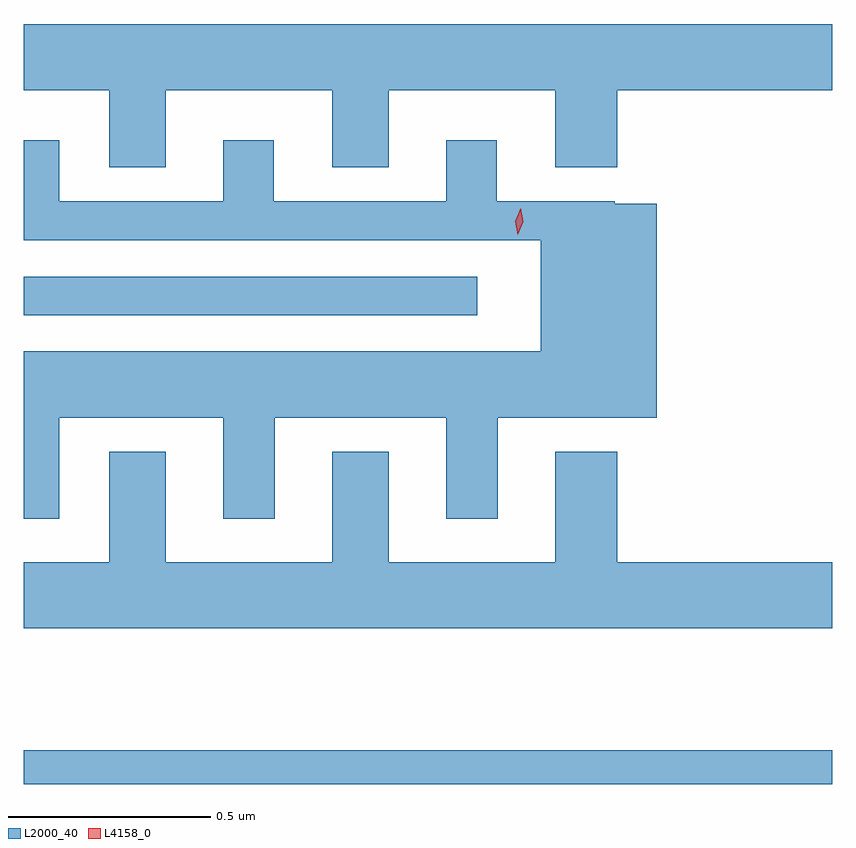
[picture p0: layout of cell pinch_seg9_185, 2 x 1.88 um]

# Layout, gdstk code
import gdstk
lib = gdstk.Library(unit=1e-6, precision=1e-09)
def R(c, l, rs):  # rectangles x0, y0, x1, y1
    for r in rs: c.add(gdstk.rectangle(r[:2], r[2:], *l))
def P(c, l, *ps):  # polygons
    for p in ps: c.add(gdstk.Polygon(p, *l))
L2000_40 = (2000, 40)
L4158_0 = (4158, 0)

pinch_seg9_185 = lib.new_cell('pinch_seg9_185')
R(pinch_seg9_185, L2000_40, [(766.996,1182.715,768.996,1182.799), (766.996,1183.875,768.118,1183.971)])
P(pinch_seg9_185, L2000_40, [(767.347,1184.432),(767.759,1184.432),(767.759,1184.242),(767.899,1184.242),(767.899,1184.432),(768.311,1184.432),(768.311,1184.242),(768.464,1184.242),(768.464,1184.432),(768.996,1184.432),(768.996,1184.596),(766.996,1184.596),(766.996,1184.432),(767.207,1184.432),(767.207,1184.242),(767.347,1184.242)],
  [(767.083,1183.622),(767.489,1183.622),(767.489,1183.371),(767.617,1183.371),(767.617,1183.622),(768.041,1183.622),(768.041,1183.371),(768.169,1183.371),(768.169,1183.622),(768.562,1183.622),(768.562,1184.151),(768.458,1184.151),(768.458,1184.157),(768.166,1184.157),(768.166,1184.308),(768.041,1184.308),(768.041,1184.157),(767.614,1184.157),(767.614,1184.308),(767.489,1184.308),(767.489,1184.157),(767.083,1184.157),(767.083,1184.308),(766.996,1184.308),(766.996,1184.061),(768.275,1184.061),(768.275,1183.786),(766.996,1183.786),(766.996,1183.371),(767.083,1183.371)],
  [(768.996,1183.264),(768.464,1183.264),(768.464,1183.537),(768.311,1183.537),(768.311,1183.264),(767.899,1183.264),(767.899,1183.537),(767.759,1183.537),(767.759,1183.264),(767.347,1183.264),(767.347,1183.537),(767.207,1183.537),(767.207,1183.264),(766.996,1183.264),(766.996,1183.1),(768.996,1183.1)])
P(pinch_seg9_185, L4158_0, [(768.218,1184.074),(768.218,1184.074),(768.212,1184.108),(768.226,1184.14),(768.226,1184.14),(768.226,1184.14),(768.232,1184.106),(768.218,1184.074)])

lib.write_gds('pinch_seg9_185.gds')
